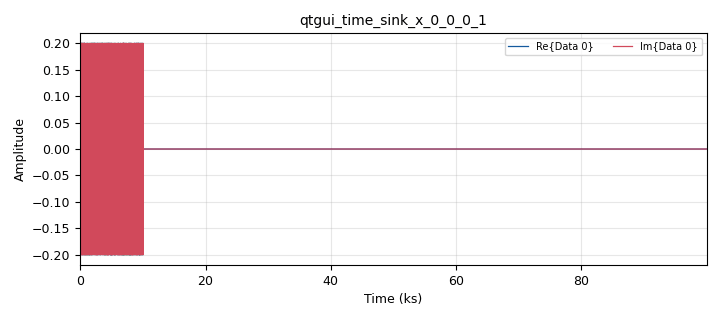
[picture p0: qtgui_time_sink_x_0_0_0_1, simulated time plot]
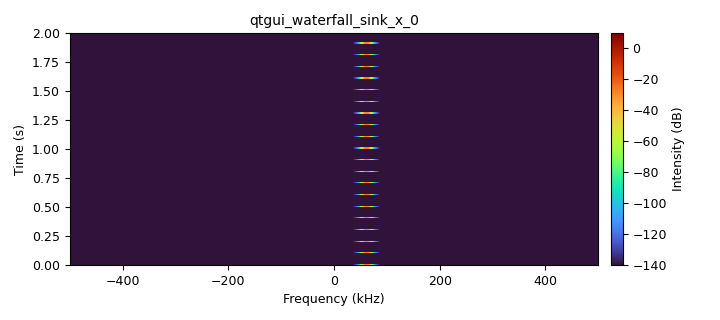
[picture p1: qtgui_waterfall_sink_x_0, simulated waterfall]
options:
  parameters:
    generate_options: qt_gui
    id: lfm_beacon_transmit
    output_language: python
  states: {}

blocks:
- name: Nchirp
  id: variable
  parameters:
    value: int(samp_rate*ton)
  states: {}
- name: Nperiod
  id: variable
  parameters:
    value: int(samp_rate*tperiod)
  states: {}
- name: amp
  id: variable
  parameters:
    value: '0.2'
  states: {}
- name: bw
  id: variable
  parameters:
    value: 200e3
  states: {}
- name: f_offset
  id: variable
  parameters:
    value: 150e3
  states: {}
- name: notes
  id: variable
  parameters:
    value: '"Transmits an on message for a Monoprice Z-Wave Plus RGB Smart Bulb."'
  states: {}
- name: samp_rate
  id: variable
  parameters:
    value: 1e6
  states: {}
- name: serial
  id: variable
  parameters:
    value: '"False"'
  states: {}
- name: ton
  id: variable
  parameters:
    value: '10e-3'
  states: {}
- name: tperiod
  id: variable
  parameters:
    value: '100e-3'
  states: {}
- name: tx_freq
  id: variable
  parameters:
    value: 433e6
  states: {}
- name: tx_gain
  id: variable
  parameters:
    value: '80'
  states: {}
- name: tx_vec
  id: variable
  parameters:
    value: (np.concatenate((np.exp(1j*2*np.pi*np.cumsum(((-bw/2)+(bw/ton)*(np.arange(Nchirp)/samp_rate)))/samp_rate),np.zeros(Nperiod-Nchirp)))*np.exp(1j*2*np.pi*f_offset*np.arange(Nperiod)/samp_rate)).astype(np.complex64)
  states: {}
- name: blocks_multiply_const_vxx_2
  id: blocks_multiply_const_vxx
  parameters:
    const: amp
    type: complex
  states: {}
- name: blocks_throttle_0
  id: blocks_throttle
  parameters:
    samples_per_second: samp_rate
    type: complex
  states: {}
- name: blocks_vector_source_x_0
  id: blocks_vector_source_x
  parameters:
    repeat: 'True'
    type: complex
    vector: tx_vec
  states: {}
- name: import_0
  id: import
  parameters:
    imports: import numpy as np
  states: {}
- name: qtgui_freq_sink_x_0
  id: qtgui_freq_sink_x
  parameters:
    bw: samp_rate
    fc: '0'
    fftsize: '1024'
    type: complex
    wintype: firdes.WIN_BLACKMAN_hARRIS
  states: {state: disabled}
- name: qtgui_time_sink_x_0_0_0_1
  id: qtgui_time_sink_x
  parameters:
    autoscale: 'True'
    grid: 'True'
    label1: ''
    label2: ''
    size: '100000'
    srate: '1'
    type: complex
    ymax: '100'
    ymin: '-100'
  states: {}
- name: qtgui_waterfall_sink_x_0
  id: qtgui_waterfall_sink_x
  parameters:
    bw: samp_rate
    fc: '0'
    fftsize: '1024'
    type: complex
    wintype: firdes.WIN_BLACKMAN_hARRIS
  states: {}
- name: uhd_usrp_sink_1_0
  id: uhd_usrp_sink
  parameters:
    ant0: TX/RX
    center_freq0: tx_freq
    clock_rate: '0.0'
    dev_addr: serial
    dev_args: '""'
    gain0: tx_gain
    len_tag_name: ''
    norm_gain0: 'False'
    samp_rate: 1e6
    sync: sync
    type: fc32
  states: {}

connections:
- [blocks_multiply_const_vxx_2, '0', blocks_throttle_0, '0']
- [blocks_multiply_const_vxx_2, '0', uhd_usrp_sink_1_0, '0']
- [blocks_throttle_0, '0', qtgui_freq_sink_x_0, '0']
- [blocks_throttle_0, '0', qtgui_time_sink_x_0_0_0_1, '0']
- [blocks_throttle_0, '0', qtgui_waterfall_sink_x_0, '0']
- [blocks_vector_source_x_0, '0', blocks_multiply_const_vxx_2, '0']

metadata:
  file_format: 1
